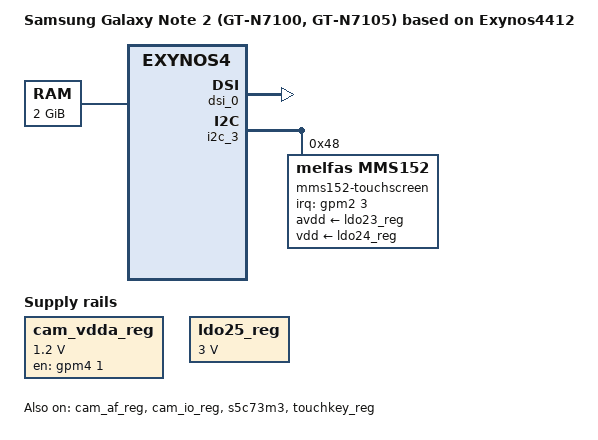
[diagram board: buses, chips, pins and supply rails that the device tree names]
// SPDX-License-Identifier: GPL-2.0
/dts-v1/;
#include "exynos4412-midas.dtsi"
#include <dt-bindings/leds/common.h>

/ {
	compatible = "samsung,n710x", "samsung,midas", "samsung,exynos4412", "samsung,exynos4";
	model = "Samsung Galaxy Note 2 (GT-N7100, GT-N7105) based on Exynos4412";

	memory@40000000 {
		device_type = "memory";
		reg =  <0x40000000 0x80000000>;
	};

	/* bootargs are passed in by bootloader */

	cam_vdda_reg: voltage-regulator-6 {
		compatible = "regulator-fixed";
		regulator-name = "CAM_SENSOR_CORE_1.2V";
		regulator-min-microvolt = <1200000>;
		regulator-max-microvolt = <1200000>;
		gpio = <&gpm4 1 GPIO_ACTIVE_HIGH>;
		enable-active-high;
	};
};

&buck9_reg {
	maxim,ena-gpios = <&gpm1 0 GPIO_ACTIVE_HIGH>;
};

&cam_af_reg {
	gpio = <&gpm1 1 GPIO_ACTIVE_HIGH>;
	status = "okay";
};

&cam_io_reg {
	gpio = <&gpm0 7 GPIO_ACTIVE_HIGH>;
	status = "okay";
};

&dsi_0 {
	vddcore-supply = <&ldo8_reg>;
	vddio-supply = <&ldo10_reg>;
	samsung,burst-clock-frequency = <500000000>;
	samsung,esc-clock-frequency = <20000000>;
	samsung,pll-clock-frequency = <24000000>;
	status = "okay";

	ports {
		#address-cells = <1>;
		#size-cells = <0>;

		port@1 {
			reg = <1>;

			dsi_out: endpoint@0 {
				samsung,burst-clock-frequency = <500000000>;
				samsung,esc-clock-frequency = <20000000>;
				status = "disabled";
			};

		};

	};

	// bootloader will choose the correct panel to use
	s6evr02: panel-s6evr02@0 {
		compatible = "samsung,s6evr02";
		reg = <0>;
		vdd3-supply = <&ldo13_reg>;
		vci-supply = <&ldo25_reg>;
		reset-gpios = <&gpf2 1 GPIO_ACTIVE_HIGH>;
		power-on-delay = <50>;
		reset-delay = <100>;
		init-delay = <100>;
		panel-width-mm = <69>;
		panel-height-mm = <123>;
		// HIGH means s6evr02
		present-gpios = <&gpf1 0 GPIO_ACTIVE_HIGH>;
		status = "disabled";

		display-timings {
			timing0_s6evr02: timing-0 {
				clock-frequency = <62614944>;
				hactive = <720>;
				vactive = <1280>;
				hfront-porch = <70>;
				hback-porch = <40>;
				hsync-len = <3>;
				vfront-porch = <13>;
				vback-porch = <1>;
				vsync-len = <2>;
			};
		};

		port {
			dsi_in_s6evr02: endpoint {
				status = "disabled";
			};
		};
	};

	ea8061: panel-ea8061@0 {
		compatible = "magnachip,ea8061";
		reg = <0>;
		vdd3-supply = <&ldo13_reg>;
		vci-supply = <&ldo25_reg>;
		reset-gpios = <&gpf2 1 GPIO_ACTIVE_HIGH>;
		power-on-delay = <50>;
		reset-delay = <100>;
		init-delay = <100>;
		panel-width-mm = <69>;
		panel-height-mm = <123>;
		// LOW means ea8061
		present-gpios = <&gpf1 0 GPIO_ACTIVE_LOW>;
		status = "disabled";

		display-timings {
			timing0_ea8061: timing-0 {
				clock-frequency = <67425696>;
				hactive = <720>;
				vactive = <1280>;
				hfront-porch = <52>;
				hback-porch = <121>;
				hsync-len = <4>;
				vfront-porch = <13>;
				vback-porch = <1>;
				vsync-len = <2>;
			};
		};

		port {
			dsi_in_ea8061: endpoint {
				status = "disabled";
			};
		};
	};
};

&i2c_3 {
	samsung,i2c-sda-delay = <100>;
	samsung,i2c-slave-addr = <0x10>;
	samsung,i2c-max-bus-freq = <400000>;
	pinctrl-0 = <&i2c3_bus>;
	pinctrl-names = "default";
	status = "okay";

	mms152-touchscreen@48 {
		compatible = "melfas,mms152";
		reg = <0x48>;
		interrupt-parent = <&gpm2>;
		interrupts = <3 IRQ_TYPE_EDGE_FALLING>;
		x-size = <720>;
		y-size = <1280>;
		avdd-supply = <&ldo23_reg>;
		vdd-supply = <&ldo24_reg>;

	};
};

&i2c_3 {
	samsung,i2c-sda-delay = <100>;
	samsung,i2c-slave-addr = <0x10>;
	samsung,i2c-max-bus-freq = <400000>;
	pinctrl-0 = <&i2c3_bus>;
	pinctrl-names = "default";
	status = "okay";

	mms152-touchscreen@48 {
		compatible = "melfas,mms152";
		reg = <0x48>;
		interrupt-parent = <&gpm2>;
		interrupts = <3 IRQ_TYPE_EDGE_FALLING>;
		x-size = <720>;
		y-size = <1280>;
		avdd-supply = <&ldo23_reg>;
		vdd-supply = <&ldo24_reg>;
	};
};

&ldo13_reg {
	regulator-name = "VCC_1.8V_LCD";
	regulator-always-on;
};

&ldo25_reg {
	regulator-name = "VCI_3.0V_LCD";
	regulator-min-microvolt = <3000000>;
	regulator-max-microvolt = <3000000>;
};

&max77693 {
	led {
		compatible = "maxim,max77693-led";
		maxim,boost-mode = <LEDS_BOOST_ADAPTIVE>;
		maxim,boost-mvout = <5000>;
		camera-flash {
			label = "flash";
			led-sources = <0>, <1>;
			led-max-microamp = <140625>;
			flash-max-microamp = <500000>;
			flash-max-timeout-us = <500000>;
		};
	};
};

&s5c73m3 {
	standby-gpios = <&gpm0 6 GPIO_ACTIVE_LOW>;   /* ISP_STANDBY */
	vdda-supply = <&cam_vdda_reg>;
	status = "okay";
};

&sound {
	samsung,audio-routing =
		"HP", "HPOUT1L",
		"HP", "HPOUT1R",

		"SPK", "SPKOUTLN",
		"SPK", "SPKOUTLP",

		"RCV", "HPOUT2N",
		"RCV", "HPOUT2P",

		"HDMI", "LINEOUT1N",
		"HDMI", "LINEOUT1P",

		"LINE", "LINEOUT2N",
		"LINE", "LINEOUT2P",

		"IN1LP", "MICBIAS2",
		"IN1LN", "MICBIAS2",
		"MICBIAS2", "Headset Mic",

		"IN1RP", "Sub Mic",
		"IN1RN", "Sub Mic",

		"IN2LP:VXRN", "Main Mic",
		"IN2LN", "Main Mic",

		"IN2RN", "FM In",
		"IN2RP:VXRP", "FM In";
};

&submic_bias_reg {
	regulator-always-on;
};

&touchkey_reg {
	gpio = <&gpm0 5 GPIO_ACTIVE_HIGH>;
	status = "okay";
};
